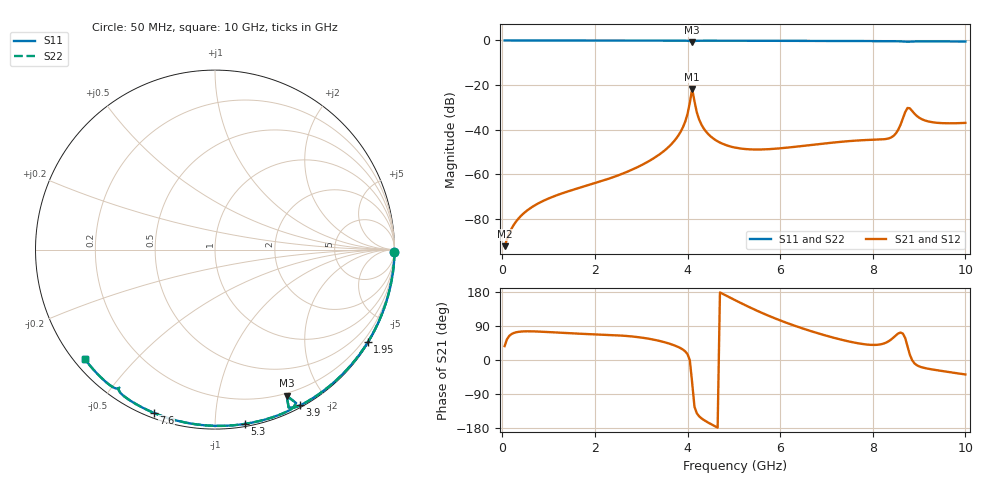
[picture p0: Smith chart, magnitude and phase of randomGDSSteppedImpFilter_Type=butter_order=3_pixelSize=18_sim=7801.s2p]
! freq	dB(S11)	phase(S11)	dB(S12)	phase(S12)
!  dB(S21)	phase(S21)	dB(S22)	phase(S22)
!S-par simulation data
#  GHz  S  DB  R 50
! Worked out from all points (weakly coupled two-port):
!   200 points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, 50 MHz to 10 GHz, reference 50 ohm
!   highest |S21| = -21.79 dB at 4.1 GHz (marker M1); lowest = -92.3 dB at 50 MHz (marker M2)
!   lowest |S11| = -0.8 dB at 4.1 GHz (marker M3), VSWR 20.57, Z = 8.63 - j79.5 ohm
!   |S11| at or under -10 dB: nowhere
!   |S22| runs from -0.8 to 0.0 dB; largest |S21 - S12| = 0
!   S11 on the Smith chart (normalised r, x): 50 MHz: open; 1.95 GHz: 0.03, -3.58; 3.9 GHz: 0.02, -1.69; 5.3 GHz: 0.02, -1.18; 7.6 GHz: 0.02, -0.69; 10 GHz: 0.03, -0.36
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0.05  -0.00 -0.8  -92.26 36.6  -92.26 36.6  -0.00 -0.8
0.35  -0.00 -5.7  -79.87 74.3  -79.87 74.3  -0.00 -5.7
0.85  -0.02 -13.8  -72.29 74.6  -72.29 74.6  -0.02 -13.8
1.75  -0.04 -28.1  -65.57 68.9  -65.57 68.9  -0.04 -28.1
1.95  -0.04 -31.2  -64.32 68.0  -64.32 68.0  -0.04 -31.2
3.4  -0.07 -53.5  -51.03 50.2  -51.03 50.2  -0.07 -53.5
3.7  -0.08 -58.1  -45.39 39.3  -45.39 39.3  -0.08 -58.1
3.9  -0.10 -61.4  -38.96 27.6  -38.96 27.6  -0.10 -61.3
4  -0.14 -63.4  -32.99 15.4  -32.99 15.4  -0.14 -63.4
4.1  -0.85 -63.9  -21.79 -60.4  -21.79 -60.4  -0.84 -63.9
4.25  -0.12 -64.8  -35.44 -148.5  -35.44 -148.5  -0.12 -64.8
4.4  -0.11 -67.4  -40.89 -161.9  -40.89 -161.9  -0.11 -67.4
4.65  -0.11 -71.1  -45.24 -178.5  -45.24 -178.5  -0.11 -71.1
5.05  -0.12 -76.9  -48.14 156.5  -48.14 156.5  -0.12 -76.9
5.3  -0.13 -80.3  -48.79 141.5  -48.79 141.5  -0.13 -80.3
6.7  -0.19 -99.1  -46.81 74.9  -46.81 74.9  -0.19 -99.1
7.6  -0.25 -110.7  -44.96 45.9  -44.96 45.9  -0.25 -110.6
8.35  -0.32 -120.2  -43.90 50.0  -43.90 50.0  -0.32 -120.2
8.55  -0.37 -123.0  -40.02 70.1  -40.02 70.1  -0.37 -123.0
8.75  -0.57 -124.7  -30.28 36.6  -30.28 36.6  -0.57 -124.7
9.2  -0.40 -130.1  -36.32 -23.1  -36.32 -23.1  -0.40 -130.0
10  -0.47 -140.0  -36.97 -38.1  -36.97 -38.1  -0.47 -140.0
